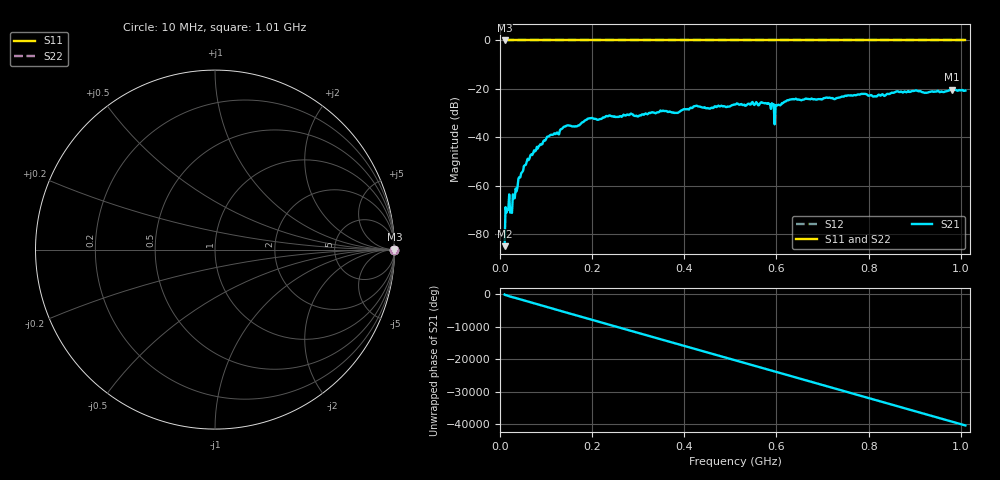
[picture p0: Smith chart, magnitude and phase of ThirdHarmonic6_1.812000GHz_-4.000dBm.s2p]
! 8/16/2025 9:56:50 PM
! C:\ANRITSUVNA\TEMP\TEMP.S2P
! CHANNEL.1
! TR.MEASUREMENT
! RAW.DATA
! RF.CORRECTION.OFF
! AVERAGING.OFF
! IF.BANDWIDTH: 5KHZ
! SWEEPTYPE:  FREQ.SWEEP(Linear)
! Reference Plane Port Info
! PORT:  PORT1  PORT2
! DISTANCE:  0  m  0  m
! TIME:  0  s  0  s
! PHASE.OFFSET:  0  deg.  0  deg.
! LOSS:  0  dB  0  dB
! REF.LOSS:  0  dB  0  dB
! REF.FREQ:  0  Hz  0  Hz
! Power Info
! POWER:  -20  dBm  -20  dBm
! EFF.POWER:  -20  dBm  -20  dBm
! SOURCE.ATTEN:  0  dB  0  dB
! TEST.ATTEN:  0  dB  0  dB
# GHZ S RI R 50.0
! FREQ.GHZ  S11RE  S11IM  S21RE  S21IM  S12RE  S12IM  S22RE  S22IM
!; PortSelection: Port_12
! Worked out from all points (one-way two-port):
!   501 points, 10 MHz to 1.01 GHz, reference 50 ohm
!   highest |S21| = -20.38 dB at 980 MHz (marker M1); lowest = -84.9 dB at 10 MHz (marker M2)
!   lowest |S11| = 0.0 dB at 10 MHz (marker M3)
!   |S11| at or under -10 dB: nowhere
!   |S22| runs from 0.0 to 0.0 dB; largest |S21 - S12| = 1.1
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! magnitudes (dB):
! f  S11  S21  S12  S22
! 10 MHz  0.0  -84.9  0.0  0.0
! 16 MHz  0.0  -69.7  0.0  0.0
! 26 MHz  0.0  -71.2  0.0  0.0
! 44 MHz  0.0  -56.6  0.0  0.0
! 70 MHz  0.0  -47.3  0.0  0.0
! 106 MHz  0.0  -39.5  0.0  0.0
! 142 MHz  0.0  -35.5  0.0  0.0
! 178 MHz  0.0  -33.9  0.0  0.0
! 196 MHz  0.0  -32.1  0.0  0.0
! 344 MHz  0.0  -29.7  0.0  0.0
! 382 MHz  0.0  -29.9  0.0  0.0
! 424 MHz  0.0  -27.1  0.0  0.0
! 452 MHz  0.0  -28.0  0.0  0.0
! 510 MHz  0.0  -26.5  0.0  0.0
! 570 MHz  0.0  -25.8  0.0  0.0
! 600 MHz  0.0  -27.0  0.0  0.0
! 602 MHz  0.0  -26.7  0.0  0.0
! 628 MHz  0.0  -24.5  0.0  0.0
! 678 MHz  0.0  -24.2  0.0  0.0
! 844 MHz  0.0  -22.1  0.0  0.0
! 980 MHz  0.0  -20.4  0.0  0.0
! 1.01 GHz  0.0  -20.7  0.0  0.0
